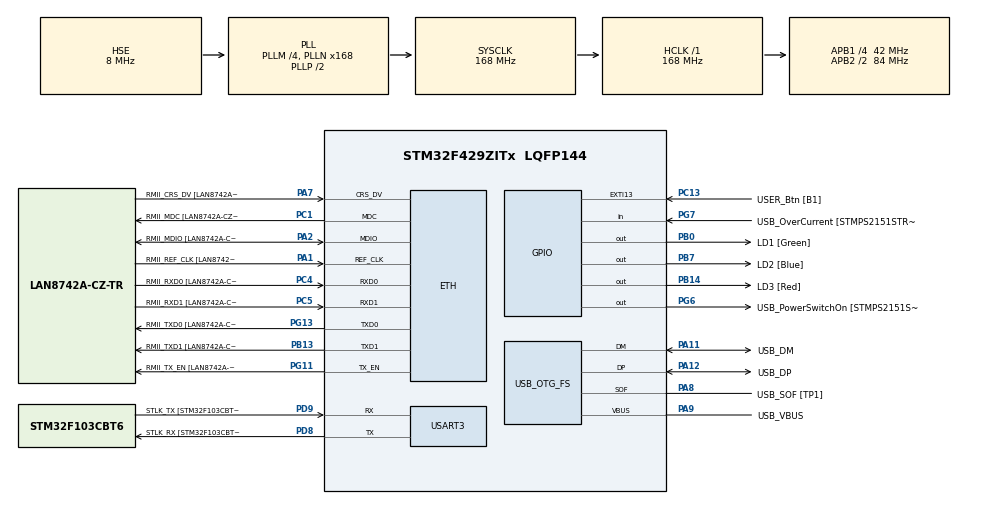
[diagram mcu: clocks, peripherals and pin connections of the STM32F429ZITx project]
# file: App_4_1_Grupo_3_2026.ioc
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ETH.MediaInterface=HAL_ETH_RMII_MODE
ETH.PHY_Name=LAN8742A_PHY_ADDRESS
ETH.PHY_Value=0
ETH.PhyAddress=0
Mcu.Family=STM32F4
Mcu.Name=STM32F429ZITx
Mcu.Package=LQFP144
NVIC.PriorityGroup=NVIC_PRIORITYGROUP_4
PA1.GPIO_Label=RMII_REF_CLK [LAN8742A-CZ-TR_REFCLK0]
PA1.Mode=RMII
PA1.Signal=ETH_REF_CLK
PA10.GPIO_Label=USB_ID
PA10.Signal=USB_OTG_FS_ID
PA11.GPIO_Label=USB_DM
PA11.Mode=Device_Only
PA11.Signal=USB_OTG_FS_DM
PA12.GPIO_Label=USB_DP
PA12.Mode=Device_Only
PA12.Signal=USB_OTG_FS_DP
PA13.GPIO_Label=TMS
PA13.Mode=Serial_Wire
PA13.Signal=SYS_JTMS-SWDIO
PA14.GPIO_Label=TCK
PA14.Mode=Serial_Wire
PA14.Signal=SYS_JTCK-SWCLK
PA2.GPIO_Label=RMII_MDIO [LAN8742A-CZ-TR_MDIO]
PA2.Mode=RMII
PA2.Signal=ETH_MDIO
PA7.GPIO_Label=RMII_CRS_DV [LAN8742A-CZ-TR_CRS_DV]
PA7.Mode=RMII
PA7.Signal=ETH_CRS_DV
PA8.GPIO_Label=USB_SOF [TP1]
PA8.Mode=Activate_SOF_FS
PA8.Signal=USB_OTG_FS_SOF
PA9.GPIO_Label=USB_VBUS
PA9.Mode=Activate_VBUS
PA9.Signal=USB_OTG_FS_VBUS
PB0.GPIO_Label=LD1 [Green]
PB0.Signal=GPIO_Output
PB13.GPIO_Label=RMII_TXD1 [LAN8742A-CZ-TR_TXD1]
PB13.Mode=RMII
PB13.Signal=ETH_TXD1
PB14.GPIO_Label=LD3 [Red]
PB14.Signal=GPIO_Output
PB7.GPIO_Label=LD2 [Blue]
PB7.Signal=GPIO_Output
PC1.GPIO_Label=RMII_MDC [LAN8742A-CZ-TR_MDC]
PC1.Mode=RMII
PC1.Signal=ETH_MDC
PC13.GPIO_Label=USER_Btn [B1]
PC13.Signal=GPXTI13
PC14/OSC32_IN.Mode=LSE-External-Oscillator
PC14/OSC32_IN.Signal=RCC_OSC32_IN
PC15/OSC32_OUT.Mode=LSE-External-Oscillator
PC15/OSC32_OUT.Signal=RCC_OSC32_OUT
PC4.GPIO_Label=RMII_RXD0 [LAN8742A-CZ-TR_RXD0]
PC4.Mode=RMII
PC4.Signal=ETH_RXD0
PC5.GPIO_Label=RMII_RXD1 [LAN8742A-CZ-TR_RXD1]
PC5.Mode=RMII
PC5.Signal=ETH_RXD1
PD8.GPIO_Label=STLK_RX [STM32F103CBT6_PA3]
PD8.Mode=Asynchronous
PD8.Signal=USART3_TX
PD9.GPIO_Label=STLK_TX [STM32F103CBT6_PA2]
PD9.Mode=Asynchronous
PD9.Signal=USART3_RX
PG11.GPIO_Label=RMII_TX_EN [LAN8742A-CZ-TR_TXEN]
PG11.Mode=RMII
PG11.Signal=ETH_TX_EN
PG13.GPIO_Label=RMII_TXD0 [LAN8742A-CZ-TR_TXD0]
PG13.Mode=RMII
PG13.Signal=ETH_TXD0
PG6.GPIO_Label=USB_PowerSwitchOn [STMPS2151STR_EN]
PG6.Signal=GPIO_Output
PG7.GPIO_Label=USB_OverCurrent [STMPS2151STR_FAULT]
PG7.Signal=GPIO_Input
PH0/OSC_IN.GPIO_Label=MCO [STM32F103CBT6_PA8]
PH0/OSC_IN.Mode=HSE-External-Clock-Source
PH0/OSC_IN.Signal=RCC_OSC_IN
PH1/OSC_OUT.Mode=HSE-External-Clock-Source
PH1/OSC_OUT.Signal=RCC_OSC_OUT
ProjectManager.HeapSize=0x200
ProjectManager.StackSize=0x400
ProjectManager.TargetToolchain=STM32CubeIDE
RCC.48MHZClocksFreq_Value=48000000
RCC.AHBFreq_Value=168000000
RCC.APB1CLKDivider=RCC_HCLK_DIV4
RCC.APB1Freq_Value=42000000
RCC.APB1TimFreq_Value=84000000
RCC.APB2CLKDivider=RCC_HCLK_DIV2
RCC.APB2Freq_Value=84000000
RCC.APB2TimCLKDivider=2
RCC.APB2TimFreq_Value=168000000
RCC.CortexFreq_Value=168000000
RCC.HCLKFreq_Value=168000000
RCC.HSE_VALUE=8000000
RCC.HSI_VALUE=16000000
RCC.PLLM=4
RCC.PLLMUL=RCC_PLL_MUL9
RCC.PLLN=168
RCC.PLLQ=7
RCC.PRESCALERUSB=RCC_USBCLKSOURCE_PLL_DIV1_5
RCC.SYSCLKFreq_VALUE=168000000
RCC.SYSCLKSource=RCC_SYSCLKSOURCE_PLLCLK
RCC.SYSCLKSourceVirtual=RCC_SYSCLKSOURCE_PLLCLK
RCC.USBFreq_Value=48000000
RCC.VCOOutputFreq_Value=336000000
USART3.VirtualMode=VM_ASYNC
USB_OTG_FS.VirtualMode=Device_Only
board=NUCLEO-F429ZI

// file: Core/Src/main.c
/* USER CODE BEGIN Header */
/**
  ******************************************************************************
  * @file           : main.c
  * @brief          : Main program body
  ******************************************************************************
  * App_4_1_Grupo_3_2026 - AFP4 - Retardos no bloqueantes (API_delay)
  *
  * Aplicacion (refactor de App_3_1 a no bloqueante): enciende y apaga de manera
  * secuencial los tres leds onboard (200 ms encendido, 200 ms apagado por led).
  * Se reemplaza HAL_Delay() por el driver de retardos no bloqueantes API_delay,
  * por lo que el lazo principal nunca se detiene.
  * La gestion del modulo GPIO se realiza exclusivamente con el driver API_GPIO.
  ******************************************************************************
  * @attention
  *
  * Copyright (c) 2026 STMicroelectronics.
  * All rights reserved.
  *
  * This software is licensed under terms that can be found in the LICENSE file
  * in the root directory of this software component.
  * If no LICENSE file comes with this software, it is provided AS-IS.
  *
  ******************************************************************************
  */
/* USER CODE END Header */
#include "main.h"
#include "string.h"
#include "API_GPIO.h"
#include "API_delay.h"

/* USER CODE BEGIN PD */
#define LED_COUNT	3		/* Cantidad de leds del vector: extensible a mas leds */
#define TIEMPO_MS	200		/* Tiempo de encendido y de apagado de cada led [ms] */
/* USER CODE END PD */

ETH_TxPacketConfig TxConfig;
ETH_DMADescTypeDef  DMARxDscrTab[ETH_RX_DESC_CNT]; /* Ethernet Rx DMA Descriptors */
ETH_DMADescTypeDef  DMATxDscrTab[ETH_TX_DESC_CNT]; /* Ethernet Tx DMA Descriptors */

ETH_HandleTypeDef heth;

UART_HandleTypeDef huart3;

PCD_HandleTypeDef hpcd_USB_OTG_FS;

/* USER CODE BEGIN PV */
/* Vector de leds de la placa: con este formato la app queda general y puede
 * extenderse a mas leds con minimas modificaciones (solo agregar elementos) */
led_t leds[LED_COUNT] = {
	{LD1_GPIO_Port, LD1_Pin},
	{LD2_GPIO_Port, LD2_Pin},
	{LD3_GPIO_Port, LD3_Pin}
};

delay_t delaySecuencia;		/* Retardo no bloqueante de la secuencia */
uint8_t indice = 0;			/* Indice del led activo en el vector */
bool ledEncendido = false;	/* Estado de la fase actual: encendido o apagado */
/* USER CODE END PV */

void SystemClock_Config(void);
/* El prototipo de MX_GPIO_Init() paso al driver: ver API_GPIO.h */
static void MX_ETH_Init(void);
static void MX_USART3_UART_Init(void);
static void MX_USB_OTG_FS_PCD_Init(void);

int main(void)
{

  /* MCU Configuration--------------------------------------------------------*/

  /* Reset of all peripherals, Initializes the Flash interface and the Systick. */
  HAL_Init();

  /* Configure the system clock */
  SystemClock_Config();

  /* Initialize all configured peripherals */
  MX_GPIO_Init();
  MX_ETH_Init();
  MX_USART3_UART_Init();
  MX_USB_OTG_FS_PCD_Init();
  /* USER CODE BEGIN 2 */
  delayInit(&delaySecuencia, TIEMPO_MS);
  /* USER CODE END 2 */

  /* Infinite loop */
  /* USER CODE BEGIN WHILE */
  while (1)
  {
	  /* Lazo principal no bloqueante: solo actua cuando el retardo se cumplio */
	  if (delayRead(&delaySecuencia))
	  {
		  if (!ledEncendido)
		  {
			  writeLedOn_GPIO(leds[indice]);	/* Fase de encendido */
			  ledEncendido = true;
		  }
		  else
		  {
			  writeLedOff_GPIO(leds[indice]);	/* Fase de apagado */
			  ledEncendido = false;
			  indice = (indice + 1) % LED_COUNT;	/* Avance circular */
		  }
	  }
    /* USER CODE END WHILE */

  }
}

void SystemClock_Config(void)
{
  RCC_OscInitTypeDef RCC_OscInitStruct = {0};
  RCC_ClkInitTypeDef RCC_ClkInitStruct = {0};

  /** Configure the main internal regulator output voltage
  */
  __HAL_RCC_PWR_CLK_ENABLE();
  __HAL_PWR_VOLTAGESCALING_CONFIG(PWR_REGULATOR_VOLTAGE_SCALE1);

  /** Initializes the RCC Oscillators according to the specified parameters
  * in the RCC_OscInitTypeDef structure.
  */
  RCC_OscInitStruct.OscillatorType = RCC_OSCILLATORTYPE_HSE;
  RCC_OscInitStruct.HSEState = RCC_HSE_BYPASS;
  RCC_OscInitStruct.PLL.PLLState = RCC_PLL_ON;
  RCC_OscInitStruct.PLL.PLLSource = RCC_PLLSOURCE_HSE;
  RCC_OscInitStruct.PLL.PLLM = 4;
  RCC_OscInitStruct.PLL.PLLN = 168;
  RCC_OscInitStruct.PLL.PLLP = RCC_PLLP_DIV2;
  RCC_OscInitStruct.PLL.PLLQ = 7;
  if (HAL_RCC_OscConfig(&RCC_OscInitStruct) != HAL_OK)
  {
    Error_Handler();
  }

  /** Initializes the CPU, AHB and APB buses clocks
  */
  RCC_ClkInitStruct.ClockType = RCC_CLOCKTYPE_HCLK|RCC_CLOCKTYPE_SYSCLK
                              |RCC_CLOCKTYPE_PCLK1|RCC_CLOCKTYPE_PCLK2;
  RCC_ClkInitStruct.SYSCLKSource = RCC_SYSCLKSOURCE_PLLCLK;
  RCC_ClkInitStruct.AHBCLKDivider = RCC_SYSCLK_DIV1;
  RCC_ClkInitStruct.APB1CLKDivider = RCC_HCLK_DIV4;
  RCC_ClkInitStruct.APB2CLKDivider = RCC_HCLK_DIV2;

  if (HAL_RCC_ClockConfig(&RCC_ClkInitStruct, FLASH_LATENCY_5) != HAL_OK)
  {
    Error_Handler();
  }
}

static void MX_ETH_Init(void)
{

   static uint8_t MACAddr[6];

  heth.Instance = ETH;
  MACAddr[0] = 0x00;
  MACAddr[1] = 0x80;
  MACAddr[2] = 0xE1;
  MACAddr[3] = 0x00;
  MACAddr[4] = 0x00;
  MACAddr[5] = 0x00;
  heth.Init.MACAddr = &MACAddr[0];
  heth.Init.MediaInterface = HAL_ETH_RMII_MODE;
  heth.Init.TxDesc = DMATxDscrTab;
  heth.Init.RxDesc = DMARxDscrTab;
  heth.Init.RxBuffLen = 1524;

  if (HAL_ETH_Init(&heth) != HAL_OK)
  {
    Error_Handler();
  }

  memset(&TxConfig, 0 , sizeof(ETH_TxPacketConfig));
  TxConfig.Attributes = ETH_TX_PACKETS_FEATURES_CSUM | ETH_TX_PACKETS_FEATURES_CRCPAD;
  TxConfig.ChecksumCtrl = ETH_CHECKSUM_IPHDR_PAYLOAD_INSERT_PHDR_CALC;
  TxConfig.CRCPadCtrl = ETH_CRC_PAD_INSERT;

}

static void MX_USART3_UART_Init(void)
{

  huart3.Instance = USART3;
  huart3.Init.BaudRate = 115200;
  huart3.Init.WordLength = UART_WORDLENGTH_8B;
  huart3.Init.StopBits = UART_STOPBITS_1;
  huart3.Init.Parity = UART_PARITY_NONE;
  huart3.Init.Mode = UART_MODE_TX_RX;
  huart3.Init.HwFlowCtl = UART_HWCONTROL_NONE;
  huart3.Init.OverSampling = UART_OVERSAMPLING_16;
  if (HAL_UART_Init(&huart3) != HAL_OK)
  {
    Error_Handler();
  }

}

static void MX_USB_OTG_FS_PCD_Init(void)
{

  hpcd_USB_OTG_FS.Instance = USB_OTG_FS;
  hpcd_USB_OTG_FS.Init.dev_endpoints = 4;
  hpcd_USB_OTG_FS.Init.speed = PCD_SPEED_FULL;
  hpcd_USB_OTG_FS.Init.dma_enable = DISABLE;
  hpcd_USB_OTG_FS.Init.phy_itface = PCD_PHY_EMBEDDED;
  hpcd_USB_OTG_FS.Init.Sof_enable = ENABLE;
  hpcd_USB_OTG_FS.Init.low_power_enable = DISABLE;
  hpcd_USB_OTG_FS.Init.lpm_enable = DISABLE;
  hpcd_USB_OTG_FS.Init.vbus_sensing_enable = ENABLE;
  hpcd_USB_OTG_FS.Init.use_dedicated_ep1 = DISABLE;
  if (HAL_PCD_Init(&hpcd_USB_OTG_FS) != HAL_OK)
  {
    Error_Handler();
  }

}

void Error_Handler(void)
{
  __disable_irq();
  while (1)
  {
  }
}
